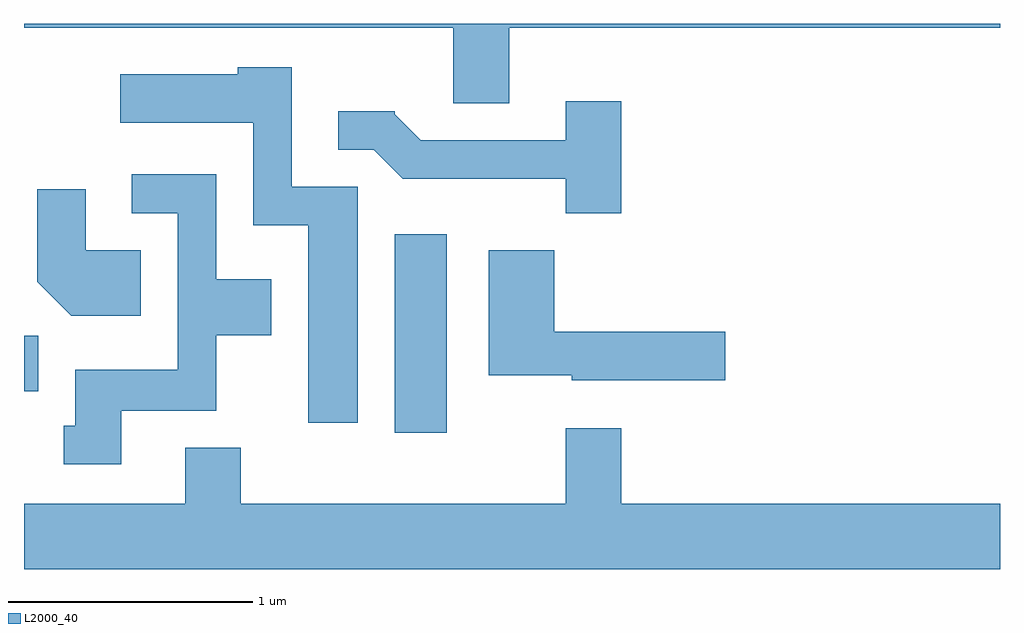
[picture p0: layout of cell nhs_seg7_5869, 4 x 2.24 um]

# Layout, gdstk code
import gdstk
lib = gdstk.Library(unit=1e-6, precision=1e-09)
def R(c, l, rs):  # rectangles x0, y0, x1, y1
    for r in rs: c.add(gdstk.rectangle(r[:2], r[2:], *l))
def P(c, l, *ps):  # polygons
    for p in ps: c.add(gdstk.Polygon(p, *l))
L2000_40 = (2000, 40)

nhs_seg7_5869 = lib.new_cell('nhs_seg7_5869')
R(nhs_seg7_5869, L2000_40, [(365.131,1792.576,365.344,1793.389), (363.611,1792.746,363.669,1792.974)])
P(nhs_seg7_5869, L2000_40, [(365.599,1794.236),(367.611,1794.236),(367.611,1794.252),(363.611,1794.252),(363.611,1794.236),(365.371,1794.236),(365.371,1793.926),(365.599,1793.926)],
  [(364.979,1793.584),(364.709,1793.584),(364.709,1794.074),(364.486,1794.074),(364.486,1794.044),(364.006,1794.044),(364.006,1793.846),(364.551,1793.846),(364.551,1793.426),(364.776,1793.426),(364.776,1792.616),(364.979,1792.616)],
  [(366.059,1793.934),(365.831,1793.934),(365.831,1793.774),(365.237,1793.774),(365.13,1793.881),(365.13,1793.894),(364.898,1793.894),(364.898,1793.736),(365.044,1793.736),(365.164,1793.616),(365.831,1793.616),(365.831,1793.476),(366.059,1793.476)],
  [(364.009,1792.666),(364.399,1792.666),(364.399,1792.976),(364.624,1792.976),(364.624,1793.204),(364.399,1793.204),(364.399,1793.634),(364.053,1793.634),(364.053,1793.476),(364.241,1793.476),(364.241,1792.834),(363.821,1792.834),(363.821,1792.604),(363.773,1792.604),(363.773,1792.446),(364.009,1792.446)],
  [(364.089,1793.324),(363.864,1793.324),(363.864,1793.574),(363.666,1793.574),(363.666,1793.194),(363.804,1793.056),(364.089,1793.056)],
  [(366.484,1792.989),(365.784,1792.989),(365.784,1793.324),(365.516,1793.324),(365.516,1792.811),(365.856,1792.811),(365.856,1792.791),(366.484,1792.791)],
  [(367.611,1792.284),(366.059,1792.284),(366.059,1792.594),(365.831,1792.594),(365.831,1792.284),(364.499,1792.284),(364.499,1792.514),(364.271,1792.514),(364.271,1792.284),(363.611,1792.284),(363.611,1792.016),(367.611,1792.016)])

lib.write_gds('nhs_seg7_5869.gds')
